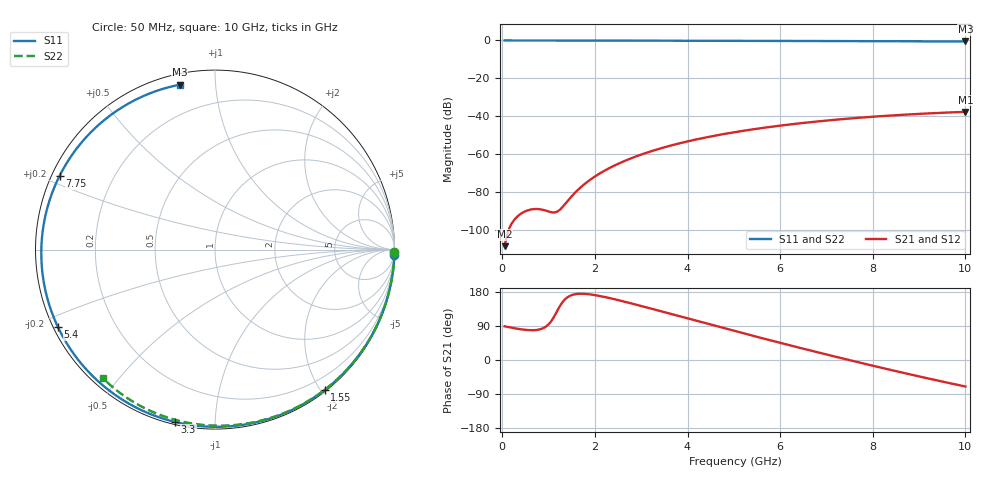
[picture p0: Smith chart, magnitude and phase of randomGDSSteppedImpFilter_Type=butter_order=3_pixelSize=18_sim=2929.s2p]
! freq	dB(S11)	phase(S11)	dB(S12)	phase(S12)
!  dB(S21)	phase(S21)	dB(S22)	phase(S22)
!S-par simulation data
#  GHz  S  DB  R 50
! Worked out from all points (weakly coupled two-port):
!   200 points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, 50 MHz to 10 GHz, reference 50 ohm
!   highest |S21| = -37.61 dB at 10 GHz (marker M1); lowest = -108.4 dB at 50 MHz (marker M2)
!   lowest |S11| = -0.5 dB at 10 GHz (marker M3), VSWR 32.12, Z = 2.57 + j40.3 ohm
!   |S11| at or under -10 dB: nowhere
!   |S22| runs from -0.4 to 0.0 dB; largest |S21 - S12| = 0
!   S11 on the Smith chart (normalised r, x): 50 MHz: 0, -66; 1.55 GHz: 0.02, -2.05; 3.3 GHz: 0.01, -0.80; 5.4 GHz: 0.01, -0.23; 7.75 GHz: 0.02, +0.23; 10 GHz: 0.05, +0.81
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0.05  -0.00 -1.7  -108.39 88.9  -108.39 88.9  -0.00 -0.8
0.4  -0.02 -13.8  -91.32 81.1  -91.32 81.1  -0.01 -6.0
0.75  -0.03 -25.7  -88.81 79.4  -88.81 79.4  -0.01 -11.3
1.15  -0.05 -39.0  -90.56 121.3  -90.56 121.3  -0.02 -17.3
1.55  -0.06 -52.0  -80.75 173.0  -80.75 173.0  -0.03 -23.2
1.6  -0.07 -53.6  -79.51 174.1  -79.51 174.1  -0.03 -23.9
1.75  -0.07 -58.3  -76.18 174.7  -76.18 174.7  -0.03 -26.1
2.05  -0.08 -67.5  -70.89 170.2  -70.89 170.2  -0.04 -30.5
2.4  -0.09 -77.9  -66.17 161.1  -66.17 161.1  -0.05 -35.6
2.8  -0.11 -89.4  -61.92 148.9  -61.92 148.9  -0.05 -41.3
3.3  -0.12 -103.0  -57.73 132.7  -57.73 132.7  -0.06 -48.4
3.4  -0.13 -105.6  -57.00 129.5  -57.00 129.5  -0.07 -49.7
4.25  -0.16 -127.0  -51.84 101.5  -51.84 101.5  -0.09 -61.4
5.05  -0.20 -145.9  -48.20 75.5  -48.20 75.5  -0.11 -72.0
5.4  -0.21 -153.8  -46.87 64.3  -46.87 64.3  -0.12 -76.5
6.05  -0.25 -168.2  -44.73 43.8  -44.73 43.8  -0.15 -84.8
6.7  -0.29 177.6  -42.94 23.7  -42.94 23.7  -0.18 -92.8
7.2  -0.33 166.7  -41.76 8.5  -41.76 8.5  -0.21 -98.8
7.75  -0.37 154.6  -40.64 -7.8  -40.64 -7.8  -0.24 -105.4
8.35  -0.41 141.1  -39.61 -25.1  -39.61 -25.1  -0.29 -112.3
9.2  -0.48 121.5  -38.44 -48.8  -38.44 -48.8  -0.36 -122.1
10  -0.54 102.1  -37.61 -69.9  -37.61 -69.9  -0.44 -131.1
